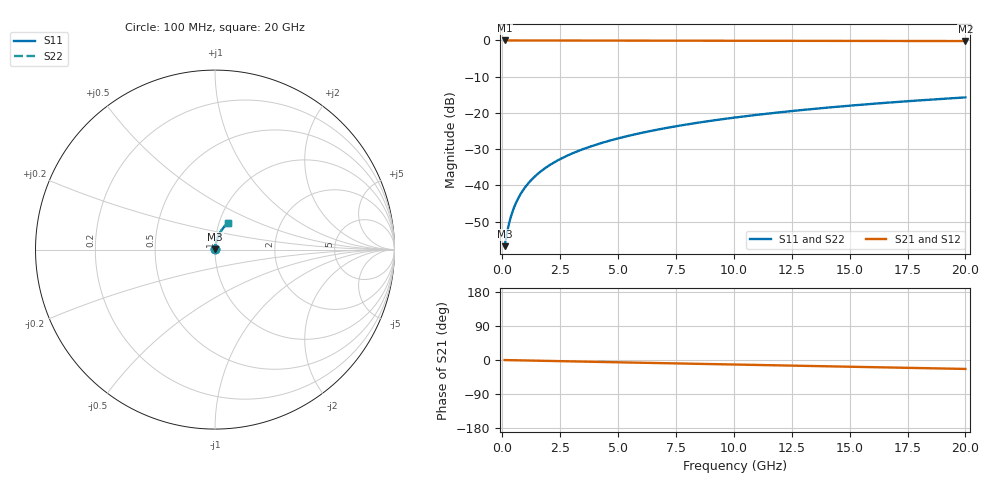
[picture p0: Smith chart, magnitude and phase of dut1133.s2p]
! Touchstone file exported from HFSS 2026.1.0
!  File:  C:/ffzhzh/LocalFiles/Ansys_Project_Files/temp_train_BSMRDL_1133_1783175352_22436.aedt
!  Generated:  10:30:26 PM Jul  4, 2026
!  Design:  BSMRDL
!  Project:  temp_train_BSMRDL_1133_1783175352_22436
! Variables:
!  h_bsmrdl = 5.91um
!  h_ox = 20um
!  h_rdl = 5um
!  h_sub = 80um
!  h_tmrdl = 5um
!  h_tsv = 80um
!  h_via = 3um
!  l_bsmrdl = 360.43um
!  l_sub = 760.43um
!  l_tmrdl = 200um
!  m_sub = 200um
!  pitch = 45.75um
!  r_tsv = 6um
!  s_tmrdl = 10um
!  w_bsmrdl = 27.17um
!  w_sub = 500um
!  w_tmrdl = 12um
!  x_tsv_center1 = 206um
!  x_tsv_center2 = 593.6um
!  x_tsv_center3 = 805.6um
!  x_tsv_center4 = 1193.2um
!  x_tsv_center5 = 1405.2um
!  x_tsv_center6 = 1792.8um
# GHz S MA R 50.000000
! Terminal data exported
! Port[1] = BSM_RDL1_1_T1
! Port[2] = BSM_RDL1_1_T2
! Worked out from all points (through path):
!   200 points, 100 MHz to 20 GHz, reference 50 ohm
!   highest |S21| = -0.01 dB at 100 MHz (marker M1); lowest = -0.2 dB at 20 GHz (marker M2)
!   group delay of S21, straight-line fit = 3.27 ps
!   lowest |S11| = -56.8 dB at 100 MHz (marker M3), VSWR 1.00, Z = 50.1 + j0.106 ohm
!   |S11| at or under -10 dB: start of sweep to end of sweep
!   |S22| runs from -56.8 to -15.7 dB; largest |S21 - S12| = 2.7e-15
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0.1  0.001444 47.1  0.999 -0.1  0.999 -0.1  0.001444 47.1
! Gamma 0 0 0 0
! Port Impedance 50 0 50 0
0.2  0.002188 63.1  0.9989 -0.3  0.9989 -0.3  0.002188 63.2
0.3  0.003053 70.6  0.9988 -0.4  0.9988 -0.4  0.003053 70.7
0.4  0.003957 74.7  0.9988 -0.5  0.9988 -0.5  0.003957 74.7
0.5  0.004876 77.1  0.9987 -0.6  0.9987 -0.6  0.004877 77.1
0.6  0.005803 78.7  0.9987 -0.7  0.9987 -0.7  0.005803 78.7
0.8  0.007661 80.5  0.9986 -1.0  0.9986 -1.0  0.007662 80.5
1.1  0.01044 81.6  0.9985 -1.4  0.9985 -1.4  0.01044 81.6
1.3  0.01227 82.0  0.9984 -1.6  0.9984 -1.6  0.01228 82.0
1.5  0.0141 82.1  0.9983 -1.8  0.9983 -1.8  0.0141 82.1
1.8  0.0168 82.1  0.9981 -2.2  0.9981 -2.2  0.0168 82.1
2.1  0.01948 82.0  0.9979 -2.6  0.9979 -2.6  0.01948 82.0
2.7  0.02475 81.7  0.9975 -3.3  0.9975 -3.3  0.02475 81.7
3.5  0.03166 81.1  0.997 -4.3  0.997 -4.3  0.03167 81.1
4.2  0.03764 80.5  0.9964 -5.1  0.9964 -5.1  0.03764 80.5
5  0.04442 79.8  0.9958 -6.1  0.9958 -6.1  0.04442 79.8
6.8  0.0595 78.2  0.9944 -8.2  0.9944 -8.2  0.0595 78.2
8.3  0.07192 76.7  0.9932 -10.0  0.9932 -10.0  0.07192 76.7
10.1  0.08664 74.8  0.9916 -12.1  0.9916 -12.1  0.08664 74.8
13.4  0.1131 71.3  0.9882 -15.9  0.9882 -15.9  0.1131 71.3
16.7  0.1387 67.8  0.9843 -19.8  0.9843 -19.8  0.1387 67.8
20  0.1634 64.1  0.9801 -23.6  0.9801 -23.6  0.1634 64.2
